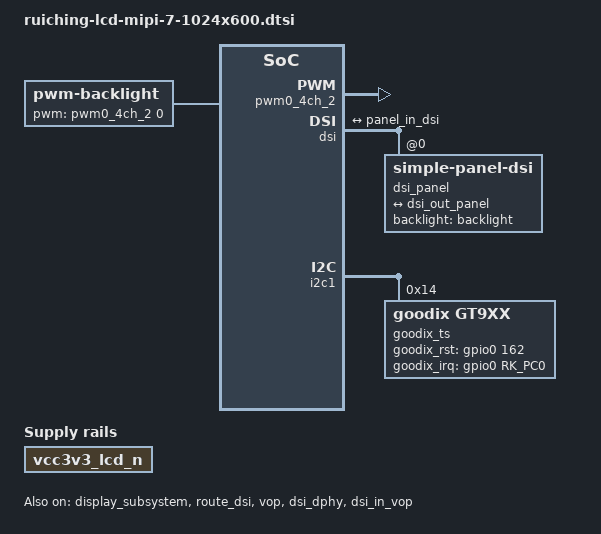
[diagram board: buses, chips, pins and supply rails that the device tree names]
/{
    backlight: backlight {
        compatible = "pwm-backlight";
        pwms = <&pwm0_4ch_2 0 25000 0>;
        brightness-levels = <
              0  20  20  21  21  22  22  23
             23  24  24  25  25  26  26  27
             27  28  28  29  29  30  30  31
             31  32  32  33  33  34  34  35
             35  36  36  37  37  38  38  39
             40  41  42  43  44  45  46  47
             48  49  50  51  52  53  54  55
             56  57  58  59  60  61  62  63
             64  65  66  67  68  69  70  71
             72  73  74  75  76  77  78  79
             80  81  82  83  84  85  86  87
             88  89  90  91  92  93  94  95
             96  97  98  99 100 101 102 103
            104 105 106 107 108 109 110 111
            112 113 114 115 116 117 118 119
            120 121 122 123 124 125 126 127
            128 129 130 131 132 133 134 135
            136 137 138 139 140 141 142 143
            144 145 146 147 148 149 150 151
            152 153 154 155 156 157 158 159
            160 161 162 163 164 165 166 167
            168 169 170 171 172 173 174 175
            176 177 178 179 180 181 182 183
            184 185 186 187 188 189 190 191
            192 193 194 195 196 197 198 199
            200 201 202 203 204 205 206 207
            208 209 210 211 212 213 214 215
            216 217 218 219 220 221 222 223
            224 225 226 227 228 229 230 231
            232 233 234 235 236 237 238 239
            240 241 242 243 244 245 246 247
            248 249 250 251 252 253 254 255
        >;
        default-brightness-level = <200>;
    };

    vcc3v3_lcd_n: vcc3v3-lcd0-n {
        compatible = "regulator-fixed";
        enable-active-high;
        //gpio = <&gpio4 RK_PB3 GPIO_ACTIVE_HIGH>;
        regulator-name = "vcc3v3_lcd_n";
        regulator-boot-on;
        regulator-state-mem {
            regulator-off-in-suspend;
        };
    };
};

&pwm0_4ch_2 {
    status = "okay";
};

&display_subsystem {
    status = "okay";
    logo-memory-region = <&drm_logo>;
};

&dsi {
    status = "okay";
    // rockchip,lane-rate = <450>;
    dsi_panel: panel@0 {
        status = "okay";
        compatible = "simple-panel-dsi";
        reg = <0>;
        backlight = <&backlight>;
        prepare-delay-ms = <20>;
        reset-delay-ms = <80>;
        init-delay-ms = <240>;
        disable-delay-ms = <10>;
        unprepare-delay-ms = <5>;
        width-mm = <154>;
        height-mm = <85>;

        dsi,flags = <(MIPI_DSI_MODE_VIDEO | MIPI_DSI_MODE_VIDEO_BURST |
                    MIPI_DSI_MODE_LPM | MIPI_DSI_MODE_NO_EOT_PACKET)>;
        dsi,format = <MIPI_DSI_FMT_RGB888>;
        dsi,lanes  = <2>;
        panel-init-sequence = [
            15 00 02 b2 10
			15 00 02 80 ac
			15 00 02 81 b8
			15 00 02 82 09
			15 00 02 83 78
			15 00 02 84 7f
			15 00 02 85 bb
			15 00 02 86 70
        ];

        disp_timings0: display-timings {
            native-mode = <&dsi_timing0>;
            dsi_timing0: timing0 {
                clock-frequency = <51200000>;
                hactive = <1024>;
                vactive = <600>;
                hback-porch = <90>;
                hfront-porch = <160>;
                vback-porch = <23>;
                vfront-porch = <12>;
                hsync-len = <70>;
                vsync-len = <10>;
                hsync-active = <0>;
                vsync-active = <0>;
                de-active = <0>;
                pixelclk-active = <0>;
            };
        };

        ports {
            #address-cells = <1>;
            #size-cells = <0>;
            port@0 {
                reg = <0>;
                panel_in_dsi: endpoint {
                    remote-endpoint = <&dsi_out_panel>;
                };
            };
        };
    };

    ports {
        #address-cells = <1>;
        #size-cells = <0>;
        port@1 {
            reg = <1>;
            dsi_out_panel: endpoint {
                remote-endpoint = <&panel_in_dsi>;
            };
        };
    };
};

&route_dsi {
    status = "okay";
};

&vop {
    status = "okay";
};

&cma {
    size = <0x1600000>;
};

&dsi_dphy {
        status = "okay";
};

&dsi_in_vop {
        status = "okay";
};

&i2c1 {
    status = "okay";
    pinctrl-names = "default";

    goodix_ts: goodix_ts@14 {
        status = "okay";
        compatible = "goodix,gt9xx";
        reg = <0x14>;
        gtp_resolution_x = <1024>;
        gtp_resolution_y = <600>;
        gtp_int_tarigger = <1>;
        gtp_change_x2y = <0>;
        gtp_overturn_x = <0>;
        gtp_overturn_y = <0>;
        gtp_send_cfg = <0>;
        gtp_touch_wakeup = <1>;

        goodix_rst_gpio = <&gpio0 162 GPIO_ACTIVE_HIGH>;
        goodix_irq_gpio = <&gpio0 RK_PC0 IRQ_TYPE_EDGE_FALLING>;
    };
};
